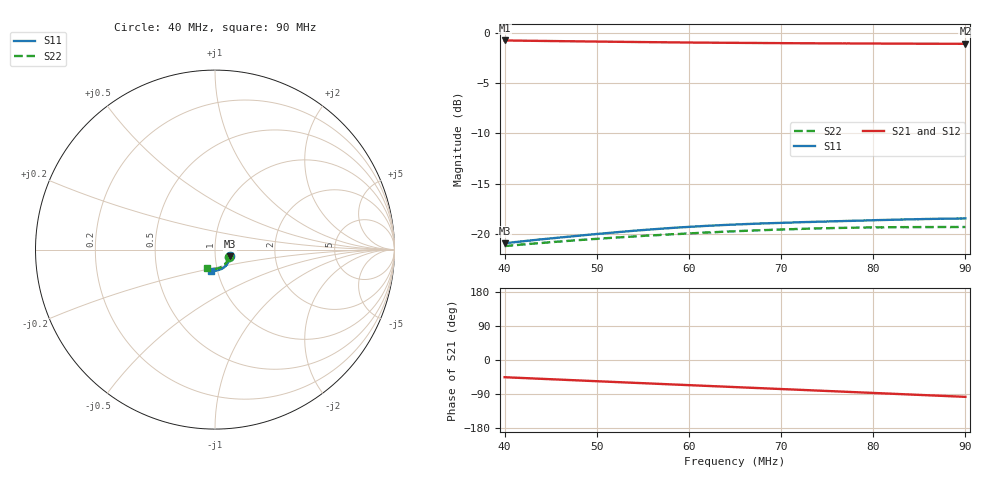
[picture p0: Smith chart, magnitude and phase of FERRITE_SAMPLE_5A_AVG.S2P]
!Agilent Technologies,E5061B,MY49102235,A.02.00
!Date: Mon Jul 03 11:00:49 2023
!Data & Calibration Information:
!Freq	S11:SOLT2(ON)	S21:SOLT2(ON)	S12:SOLT2(ON)	S22:SOLT2(ON)
# Hz S RI R 50
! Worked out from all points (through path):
!   1600 points, 40 MHz to 90 MHz, reference 50 ohm
!   highest |S21| = -0.77 dB at 40 MHz (marker M1); lowest = -1.1 dB at 90 MHz (marker M2)
!   group delay of S21, straight-line fit = 2.87 ns
!   lowest |S11| = -20.9 dB at 40 MHz (marker M3), VSWR 1.20, Z = 58.7 - j4.48 ohm
!   |S11| at or under -10 dB: start of sweep to end of sweep
!   |S22| runs from -21.2 to -19.3 dB; largest |S21 - S12| = 0.0011
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4e7  0.0817 -0.0379  0.6424 -0.6525  0.6425 -0.6516  0.0766 -0.0413
4.021889e7  0.0816 -0.0385  0.6396 -0.6549  0.6396 -0.654  0.0766 -0.0419
4.087555e7  0.0816 -0.0402  0.6309 -0.662  0.6313 -0.6611  0.0761 -0.0437
4.450281e7  0.0803 -0.0501  0.5826 -0.6991  0.5827 -0.6988  0.0733 -0.0534
4.834897e7  0.0774 -0.0609  0.5293 -0.7351  0.5295 -0.7346  0.0688 -0.0634
5.241401e7  0.0726 -0.072  0.471 -0.7687  0.4713 -0.7683  0.0624 -0.0733
5.482176e7  0.0691 -0.0784  0.4357 -0.7863  0.436 -0.7862  0.0577 -0.0789
5.666667e7  0.0659 -0.083  0.4084 -0.7988  0.4086 -0.7985  0.0538 -0.0827
5.873046e7  0.062 -0.0879  0.3778 -0.8118  0.3777 -0.8115  0.0492 -0.087
6.082552e7  0.0577 -0.0926  0.3462 -0.8237  0.3462 -0.8235  0.0442 -0.091
6.501563e7  0.0477 -0.1007  0.2823 -0.8445  0.2825 -0.844  0.033 -0.0978
6.901814e7  0.0372 -0.107  0.2207 -0.8603  0.2209 -0.8598  0.0213 -0.1028
7.126954e7  0.0309 -0.1098  0.1857 -0.8675  0.1858 -0.8668  0.0144 -0.1047
7.33646e7  0.0248 -0.1122  0.1527 -0.8731  0.1531 -0.8724  0.00775 -0.1061
7.530331e7  0.019 -0.1139  0.122 -0.8771  0.1224 -0.8765  0.0017 -0.1069
7.746091e7  0.0129 -0.1155  0.0879 -0.8804  0.0882 -0.8798  -0.00513 -0.1073
7.936836e7  0.00705 -0.1166  0.0574 -0.8822  0.0579 -0.8818  -0.0111 -0.1071
8.16823e7  0.000109 -0.1176  0.0205 -0.8832  0.0211 -0.8829  -0.0183 -0.1065
8.349593e7  -0.00535 -0.1179  -0.00842 -0.8828  -0.00795 -0.8825  -0.0238 -0.1056
8.596623e7  -0.0125 -0.1181  -0.0477 -0.8809  -0.0474 -0.8808  -0.0309 -0.1038
8.971857e7  -0.0233 -0.1172  -0.1069 -0.8749  -0.1069 -0.8746  -0.0415 -0.1001
9e7  -0.0242 -0.117  -0.1113 -0.8742  -0.1113 -0.8741  -0.0423 -0.0998
